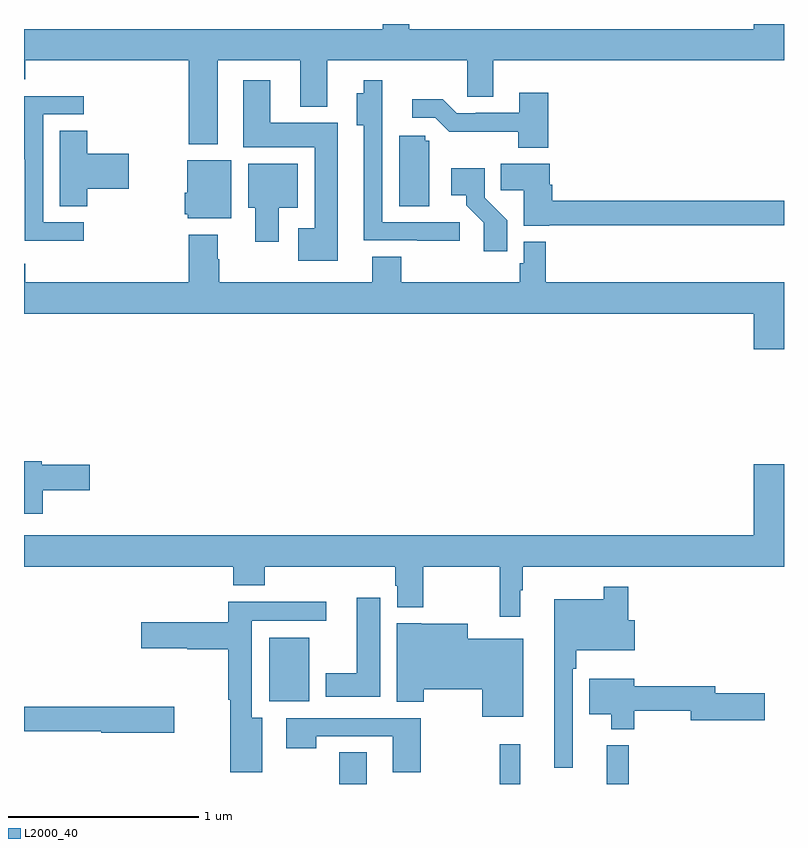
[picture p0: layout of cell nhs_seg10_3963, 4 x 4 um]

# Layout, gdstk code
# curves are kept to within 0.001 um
import gdstk
lib = gdstk.Library(unit=1e-6, precision=1e-09)
def R(c, l, rs):  # rectangles x0, y0, x1, y1
    for r in rs: c.add(gdstk.rectangle(r[:2], r[2:], *l))
def P(c, l, *ps):  # polygons
    for p in ps: c.add(gdstk.Polygon(p, *l))
L2000_40 = (2000, 40)

nhs_seg10_3963 = lib.new_cell('nhs_seg10_3963')
R(nhs_seg10_3963, L2000_40, [(330.658,1304.5,330.805,1304.666), (331.503,1304.5,331.613,1304.71), (332.066,1304.5,332.183,1304.704), (330.29,1304.936,330.502,1305.271)])
P(nhs_seg10_3963, L2000_40, [(330.019,1308.308),(330.455,1308.308),(330.455,1308.065),(330.595,1308.065),(330.595,1308.308),(331.332,1308.308),(331.332,1308.118),(331.471,1308.118),(331.471,1308.308),(333,1308.308),(333,1308.5),(332.84,1308.5),(332.84,1308.472),(331.027,1308.472),(331.027,1308.5),(330.888,1308.5),(330.888,1308.472),(329,1308.472),(329,1308.209),(329.006,1308.209),(329.006,1308.308),(329.867,1308.308),(329.867,1307.867),(330.019,1307.867)],
  [(331.294,1307.457),(330.885,1307.457),(330.885,1307.982),(330.886,1307.982),(330.886,1308.205),(330.788,1308.205),(330.788,1308.136),(330.752,1308.136),(330.752,1307.966),(330.788,1307.966),(330.788,1307.361),(331.069,1307.361),(331.069,1307.359),(331.294,1307.359)],
  [(330.652,1307.98),(330.295,1307.98),(330.295,1308.205),(330.155,1308.205),(330.155,1307.852),(330.53,1307.852),(330.53,1307.425),(330.443,1307.425),(330.443,1307.255),(330.652,1307.255)],
  [(331.76,1308.139),(331.607,1308.139),(331.607,1308.033),(331.378,1308.033),(331.378,1308.03),(331.278,1308.03),(331.205,1308.103),(331.044,1308.103),(331.044,1308.006),(331.164,1308.006),(331.237,1307.933),(331.6,1307.934),(331.6,1307.849),(331.76,1307.849)],
  [(329.314,1307.457),(329.1,1307.457),(329.1,1308.024),(329.314,1308.024),(329.314,1308.12),(329,1308.12),(329,1308.012),(329.002,1308.012),(329.002,1307.788),(329.004,1307.788),(329.004,1307.359),(329.314,1307.359)],
  [(329.333,1307.633),(329.551,1307.633),(329.551,1307.816),(329.333,1307.816),(329.333,1307.939),(329.189,1307.939),(329.189,1307.542),(329.333,1307.542)],
  [(331.132,1307.886),(331.113,1307.886),(331.113,1307.913),(330.974,1307.913),(330.974,1307.542),(331.132,1307.542)],
  [(330.091,1307.782),(329.858,1307.782),(329.858,1307.613),(329.846,1307.613),(329.846,1307.499),(329.862,1307.499),(329.862,1307.477),(330.091,1307.477)],
  [(331.764,1307.442),(333,1307.442),(333,1307.57),(331.781,1307.57),(331.781,1307.654),(331.768,1307.654),(331.768,1307.764),(331.51,1307.764),(331.51,1307.626),(331.631,1307.626),(331.631,1307.438),(331.764,1307.438)],
  [(330.34,1307.534),(330.442,1307.534),(330.442,1307.764),(330.179,1307.764),(330.179,1307.534),(330.218,1307.534),(330.218,1307.355),(330.34,1307.355)],
  [(331.544,1307.466),(331.425,1307.585),(331.425,1307.74),(331.248,1307.74),(331.248,1307.6),(331.328,1307.6),(331.328,1307.545),(331.419,1307.455),(331.419,1307.304),(331.544,1307.304)],
  [(333,1307.14),(331.745,1307.14),(331.745,1307.353),(331.629,1307.353),(331.629,1307.241),(331.609,1307.241),(331.609,1307.14),(330.986,1307.14),(330.986,1307.276),(330.833,1307.276),(330.833,1307.14),(330.027,1307.14),(330.027,1307.261),(330.019,1307.261),(330.019,1307.392),(329.867,1307.392),(329.867,1307.14),(329.006,1307.14),(329.006,1307.239),(329,1307.239),(329,1306.976),(332.84,1306.976),(332.84,1306.788),(333,1306.788)],
  [(329.098,1306.046),(329.347,1306.046),(329.347,1306.181),(329.094,1306.181),(329.094,1306.199),(329,1306.199),(329,1305.923),(329.098,1305.923)],
  [(331.612,1305.521),(331.624,1305.521),(331.624,1305.644),(333,1305.644),(333,1306.183),(332.84,1306.183),(332.84,1305.808),(329,1305.808),(329,1305.644),(330.101,1305.644),(330.101,1305.545),(330.266,1305.545),(330.266,1305.644),(330.953,1305.644),(330.953,1305.543),(330.965,1305.543),(330.965,1305.431),(331.101,1305.431),(331.101,1305.644),(331.503,1305.644),(331.503,1305.381),(331.612,1305.381)],
  [(331.887,1305.107),(331.907,1305.107),(331.907,1305.203),(332.215,1305.203),(332.215,1305.361),(332.18,1305.361),(332.18,1305.538),(332.052,1305.538),(332.052,1305.472),(331.79,1305.472),(331.79,1304.586),(331.887,1304.586)],
  [(330.874,1305.481),(330.752,1305.481),(330.752,1305.082),(330.587,1305.082),(330.587,1304.96),(330.874,1304.96)],
  [(330.253,1304.848),(330.199,1304.848),(330.199,1305.36),(330.592,1305.36),(330.592,1305.458),(330.074,1305.458),(330.074,1305.351),(329.616,1305.351),(329.616,1305.214),(329.859,1305.214),(329.859,1305.209),(330.074,1305.209),(330.074,1304.944),(330.086,1304.944),(330.086,1304.562),(330.253,1304.562)],
  [(331.627,1305.265),(331.336,1305.265),(331.336,1305.343),(331.092,1305.343),(331.092,1305.346),(330.962,1305.346),(330.962,1304.932),(331.104,1304.932),(331.104,1304.999),(331.412,1304.999),(331.412,1304.855),(331.627,1304.855)],
  [(332.212,1304.886),(332.51,1304.886),(332.51,1304.836),(332.899,1304.836),(332.899,1304.978),(332.638,1304.978),(332.638,1305.014),(332.212,1305.014),(332.212,1305.055),(331.976,1305.055),(331.976,1304.867),(332.09,1304.867),(332.09,1304.789),(332.212,1304.789)],
  [(329.791,1304.907),(329.506,1304.907),(329.506,1304.906),(329,1304.906),(329,1304.778),(329.406,1304.778),(329.406,1304.77),(329.791,1304.77)],
  [(331.089,1304.847),(330.381,1304.847),(330.381,1304.688),(330.537,1304.688),(330.537,1304.751),(330.941,1304.751),(330.941,1304.562),(331.089,1304.562)])

lib.write_gds('nhs_seg10_3963.gds')
